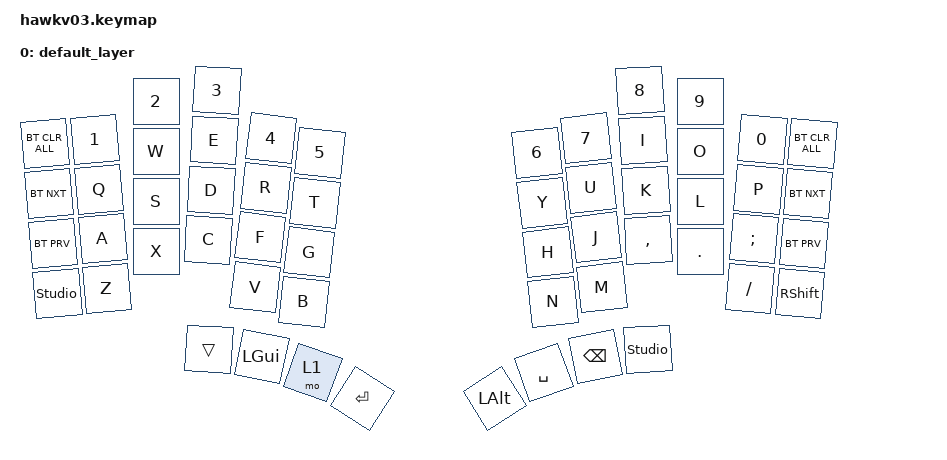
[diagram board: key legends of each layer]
// This file was generated from a template. Edit it to match your keyboard.
// See https://zmk.dev/docs/development/hardware-integration/new-shield for more instructions.

#include <behaviors.dtsi>
#include <dt-bindings/zmk/keys.h>
#include <dt-bindings/zmk/bt.h>

/ {
    // Define a default keymap here.
    // See https://zmk.dev/docs/development/hardware-integration/new-shield#default-keymap.
    keymap {
        compatible = "zmk,keymap";

        default_layer {
            //bindings = <
            //    &kp N1 &kp N2    &kp N3 &kp N4
            //    &kp A  &kp B     &kp C  &kp D
            //>;

            
            //-----------------------------------------------------------------------------------------------
            //|BT_CLRALL|   1   |   2   |   3   |   4   |   5   |               |   6   |   7   |   8   |   9   |   0   |BT_CLRALL|
            //|  BT_NXT |   Q   |   W   |   E   |   R   |   T   |               |   Y   |   U   |   I   |   O   |   P   |BT_NXT | 
            //|  BT_PRV |   A   |   S   |   D   |   F   |   G   |               |   H   |   J   |   K   |   L   |   ;   |BT_PRV |
            //| STIOULK |   Z   |   X   |   C   |   V   |   B   |               |   N   |   M   |   ,   |   .   |   /   |RSHIFT |
            //                       | BT 0 | SUPER | SYMBL | ENTER |  ALT  | SPACE | BKSPCE|STIOULK|

            bindings = <
              &bt BT_CLR_ALL &kp N1  &kp N2  &kp N3  &kp N4  &kp N5                  &kp N6  &kp N7  &kp N8  &kp N9  &kp N0  &bt BT_CLR_ALL
              &bt BT_NXT &kp Q   &kp W   &kp E   &kp R   &kp T                   &kp Y   &kp U   &kp I   &kp O   &kp P   &bt BT_NXT
              &bt BT_PRV &kp A &kp S  &kp D   &kp F   &kp G                   &kp H   &kp J   &kp K   &kp L   &kp SEMICOLON &bt BT_PRV
              &studio_unlock &kp Z &kp X   &kp C   &kp V   &kp B                   &kp N   &kp M   &kp COMMA &kp DOT &kp SLASH &kp RSHIFT
                        &trans  &kp LGUI &mo 1  &kp ENTER               &kp LALT &kp SPACE &kp BACKSPACE &studio_unlock
            >;
        };
    };
};
